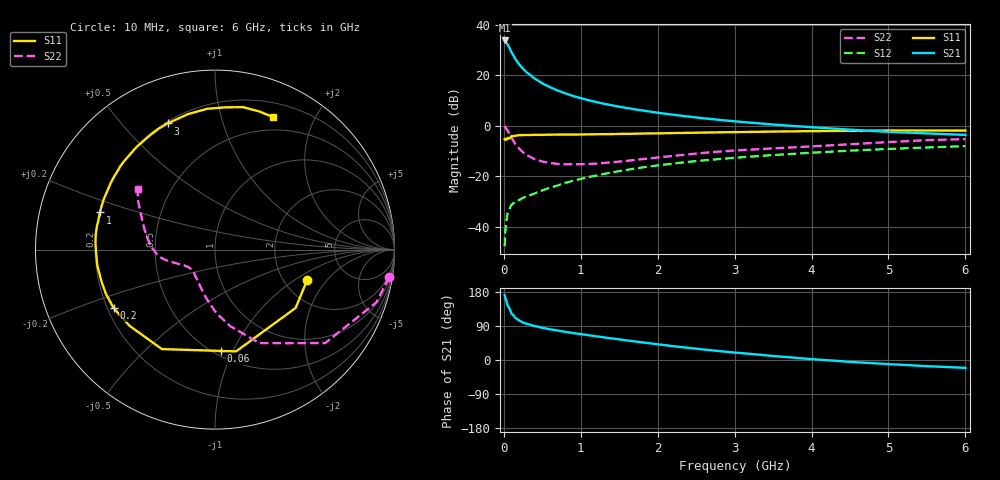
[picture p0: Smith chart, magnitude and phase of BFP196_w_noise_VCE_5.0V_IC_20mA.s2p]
! (c) 2017  Infineon Technologies AG, Munich
! Infineon Technologies  Discrete & RF Semiconductors
! BFP196
! VCE =  5.0 V,  IC =  20 mA
! Common Emitter S-Parameters:  Jan 2017
# GHz  S  MA  R  50
!  f  S11  S21  S12  S22
! GHz  MAG  ANG  MAG  ANG  MAG  ANG  MAG  ANG
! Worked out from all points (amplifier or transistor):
!   77 points, 10 MHz to 6 GHz, reference 50 ohm
!   highest |S21| = 33.9 dB at 10 MHz (marker M1)
!   |S21| within 3 dB of that: start of sweep to 71.93 MHz
!   unconditionally stable (mu >= 1): 794 MHz to 2.398 GHz
!   at 130 MHz: K = 0.38, MSG = 29.1 dB, |S12| = -30.6 dB
!   at 2.2 GHz: K = 1.01, MAG = 9.0 dB, |S12| = -15.0 dB
!   at 6 GHz: K = 0.93, MSG = 2.2 dB, |S12| = -8.1 dB
!   lowest NFmin = 1.10 dB at 450 MHz
!   S11 on the Smith chart (normalised r, x): 10 MHz: 2.66, -1.28; 60 MHz: 0.54, -0.90; 200 MHz: 0.23, -0.26; 1 GHz: 0.20, +0.15; 3 GHz: 0.21, +0.67; 6 GHz: 0.35, +1.48
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0.01  0.5406 -18.4  49.33 171.6  0.0041 79.0  0.9813 -9.0
0.02  0.5544 -35.9  48.46 163.7  0.0084 79.4  0.9469 -18.0
0.05  0.5791 -78.3  40.68 143.2  0.0188 62.1  0.805 -40.3
0.06  0.5656 -86.5  37.98 140.1  0.0204 58.8  0.7508 -43.9
0.1  0.6285 -118.1  28.77 122.5  0.0272 49.8  0.5775 -64.5
0.15  0.6377 -138.2  21.14 111.3  0.0313 44.4  0.4347 -78.8
0.2  0.6519 -149.9  16.53 104.2  0.0338 44.5  0.3522 -89.0
0.25  0.6559 -158.1  13.49 98.9  0.0374 44.8  0.2977 -96.3
0.3  0.6568 -163.8  11.37 95.4  0.0399 46.5  0.2615 -102.8
0.4  0.6616 -172.1  8.658 89.5  0.0455 50.0  0.2187 -112.5
0.5  0.6629 -178.2  6.959 85.0  0.0524 52.6  0.1961 -120.2
0.6  0.667 176.8  5.837 81.1  0.0595 54.6  0.1837 -126.6
0.7  0.6699 172.9  5.01 77.8  0.0656 56.4  0.1749 -131.5
1  0.674 162.1  3.54 68.3  0.0884 57.9  0.1728 -142.5
1.1  0.6767 158.9  3.225 65.5  0.0962 57.8  0.175 -144.6
1.5  0.6899 147.1  2.391 54.4  0.1261 56.0  0.1952 -153.6
2.1  0.7131 130.5  1.737 39.1  0.171 50.6  0.2439 -163.1
3  0.7511 110.6  1.228 19.6  0.2323 40.6  0.3238 -175.2
3.1  0.7532 108.7  1.192 18.0  0.2383 39.4  0.33 -176.9
4.1  0.7867 91.6  0.917 0.9  0.2981 28.1  0.3984 166.4
5.1  0.808 77.5  0.749 -11.9  0.3526 16.6  0.4844 150.5
6  0.8061 66.2  0.66 -20.7  0.3949 6.4  0.545 141.6
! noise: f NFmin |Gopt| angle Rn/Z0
0.45  1.1  0.34  159  0.05
0.9  1.3  0.47  179  0.06
1.9  2.2  0.68  -137  0.24
2.4  2.65  0.72  -122  0.59
